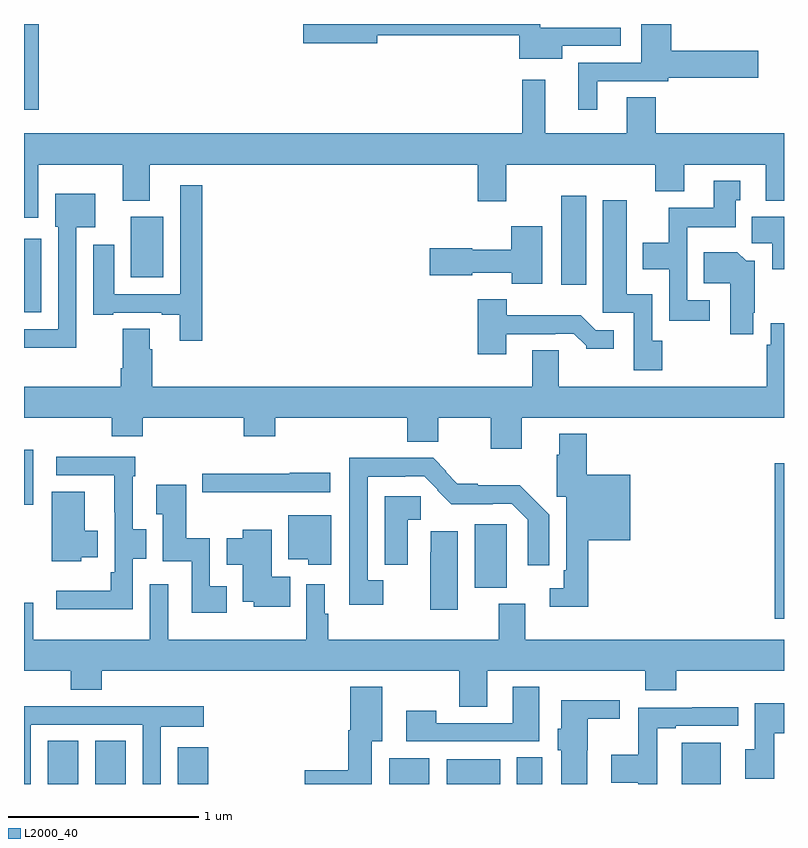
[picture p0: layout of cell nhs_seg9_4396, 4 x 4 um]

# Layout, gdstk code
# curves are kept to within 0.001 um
import gdstk
lib = gdstk.Library(unit=1e-6, precision=1e-09)
def R(c, l, rs):  # rectangles x0, y0, x1, y1
    for r in rs: c.add(gdstk.rectangle(r[:2], r[2:], *l))
def P(c, l, *ps):  # polygons
    for p in ps: c.add(gdstk.Polygon(p, *l))
L2000_40 = (2000, 40)

nhs_seg9_4396 = lib.new_cell('nhs_seg9_4396')
R(nhs_seg9_4396, L2000_40, [(363.125,1186.5,363.286,1186.727), (363.374,1186.5,363.535,1186.727), (363.809,1186.5,363.97,1186.693), (364.922,1186.5,365.134,1186.636), (365.225,1186.5,365.506,1186.63), (365.594,1186.5,365.728,1186.64), (366.461,1186.5,366.667,1186.717), (366.952,1187.37,367,1188.187), (365.372,1187.534,365.542,1187.868), (363,1187.969,363.049,1188.259), (363,1188.983,363.091,1189.369), (365.828,1189.128,365.959,1189.597), (363.563,1189.166,363.733,1189.486), (363,1190.049,363.077,1190.5)])
P(nhs_seg9_4396, L2000_40, [(365.833,1190.385),(366.142,1190.385),(366.142,1190.481),(365.716,1190.481),(365.716,1190.5),(364.47,1190.5),(364.47,1190.398),(364.858,1190.398),(364.858,1190.44),(365.606,1190.44),(365.606,1190.318),(365.833,1190.318)],
  [(366.016,1190.199),(366.39,1190.199),(366.39,1190.218),(366.865,1190.218),(366.865,1190.36),(366.407,1190.36),(366.407,1190.5),(366.248,1190.5),(366.248,1190.295),(365.918,1190.295),(365.918,1190.049),(366.016,1190.049)],
  [(363.076,1189.76),(363.521,1189.76),(363.521,1189.571),(363.661,1189.571),(363.661,1189.76),(365.387,1189.76),(365.387,1189.566),(365.539,1189.566),(365.539,1189.76),(366.323,1189.76),(366.323,1189.619),(366.475,1189.619),(366.475,1189.76),(366.905,1189.76),(366.905,1189.571),(367,1189.571),(367,1189.924),(366.326,1189.924),(366.326,1190.114),(366.173,1190.114),(366.173,1189.924),(365.743,1189.924),(365.743,1190.206),(365.622,1190.206),(365.622,1189.924),(363,1189.924),(363,1189.479),(363.076,1189.479)],
  [(366.61,1189.047),(366.492,1189.047),(366.492,1189.43),(366.745,1189.43),(366.745,1189.572),(366.769,1189.572),(366.769,1189.675),(366.629,1189.675),(366.629,1189.534),(366.394,1189.534),(366.394,1189.348),(366.257,1189.348),(366.257,1189.208),(366.396,1189.208),(366.396,1188.939),(366.61,1188.939)],
  [(363.938,1189.651),(363.822,1189.651),(363.822,1189.077),(363.475,1189.077),(363.475,1189.339),(363.365,1189.339),(363.365,1188.969),(363.469,1188.969),(363.469,1188.981),(363.725,1188.981),(363.725,1188.969),(363.821,1188.969),(363.821,1188.834),(363.938,1188.834)],
  [(363.276,1189.43),(363.376,1189.43),(363.376,1189.606),(363.164,1189.606),(363.164,1189.434),(363.18,1189.434),(363.18,1188.894),(363,1188.894),(363,1188.797),(363.276,1188.797)],
  [(366.359,1188.834),(366.306,1188.834),(366.306,1189.078),(366.172,1189.078),(366.172,1189.573),(366.047,1189.573),(366.047,1188.981),(366.21,1188.981),(366.21,1188.678),(366.359,1188.678)],
  [(367,1189.486),(366.83,1189.486),(366.83,1189.347),(366.938,1189.347),(366.938,1189.208),(367,1189.208)],
  [(365.728,1189.435),(365.564,1189.435),(365.564,1189.312),(365.358,1189.312),(365.358,1189.32),(365.136,1189.32),(365.136,1189.178),(365.358,1189.178),(365.358,1189.19),(365.566,1189.19),(365.566,1189.133),(365.728,1189.133)],
  [(366.838,1188.979),(366.846,1188.979),(366.846,1189.255),(366.8,1189.255),(366.755,1189.3),(366.577,1189.3),(366.577,1189.136),(366.716,1189.136),(366.716,1188.867),(366.838,1188.867)],
  [(365.539,1188.867),(365.795,1188.867),(365.795,1188.87),(365.894,1188.87),(365.958,1188.806),(365.958,1188.791),(366.103,1188.791),(366.103,1188.888),(366.009,1188.888),(365.931,1188.967),(365.542,1188.967),(365.542,1189.051),(365.387,1189.051),(365.387,1188.762),(365.539,1188.762)],
  [(363.626,1188.428),(364.157,1188.428),(364.157,1188.329),(364.322,1188.329),(364.322,1188.428),(365.018,1188.428),(365.018,1188.302),(365.179,1188.302),(365.179,1188.428),(365.456,1188.428),(365.456,1188.264),(365.62,1188.264),(365.62,1188.428),(367,1188.428),(367,1188.925),(366.93,1188.925),(366.93,1188.812),(366.91,1188.812),(366.91,1188.592),(365.815,1188.592),(365.815,1188.782),(365.675,1188.782),(365.675,1188.592),(363.674,1188.592),(363.674,1188.788),(363.661,1188.788),(363.661,1188.896),(363.521,1188.896),(363.521,1188.688),(363.509,1188.688),(363.509,1188.592),(363,1188.592),(363,1188.428),(363.461,1188.428),(363.461,1188.329),(363.626,1188.329)],
  [(365.969,1187.783),(366.19,1187.783),(366.19,1188.127),(365.963,1188.127),(365.963,1188.343),(365.816,1188.343),(365.816,1188.233),(365.804,1188.233),(365.804,1188.012),(365.853,1188.012),(365.853,1187.626),(365.841,1187.626),(365.841,1187.529),(365.766,1187.529),(365.766,1187.432),(365.969,1187.432)],
  [(363.573,1187.686),(363.643,1187.686),(363.643,1187.841),(363.573,1187.841),(363.573,1188.119),(363.586,1188.119),(363.586,1188.222),(363.171,1188.222),(363.171,1188.126),(363.476,1188.126),(363.476,1187.929),(363.477,1187.929),(363.477,1187.614),(363.457,1187.614),(363.457,1187.518),(363.171,1187.518),(363.171,1187.42),(363.573,1187.42)],
  [(364.892,1187.572),(364.809,1187.572),(364.809,1188.116),(365.006,1188.116),(365.006,1188.12),(365.106,1188.12),(365.178,1188.048),(365.175,1188.045),(365.249,1187.972),(365.468,1187.972),(365.468,1187.976),(365.568,1187.976),(365.652,1187.892),(365.652,1187.652),(365.764,1187.652),(365.764,1187.916),(365.609,1188.073),(365.389,1188.073),(365.389,1188.081),(365.281,1188.081),(365.219,1188.143),(365.223,1188.147),(365.153,1188.217),(364.713,1188.217),(364.713,1187.444),(364.892,1187.444)],
  [(364.295,1188.036),(364.612,1188.036),(364.612,1188.137),(364.399,1188.137),(364.399,1188.134),(363.939,1188.134),(363.939,1188.035),(364.295,1188.035)],
  [(364.066,1187.542),(363.978,1187.542),(363.978,1187.794),(363.853,1187.794),(363.853,1188.076),(363.695,1188.076),(363.695,1187.92),(363.731,1187.92),(363.731,1187.672),(363.882,1187.672),(363.882,1187.402),(364.066,1187.402)],
  [(363.3,1187.693),(363.388,1187.693),(363.388,1187.833),(363.319,1187.833),(363.319,1188.037),(363.146,1188.037),(363.146,1187.672),(363.3,1187.672)],
  [(365.02,1187.891),(365.087,1187.891),(365.087,1188.014),(364.898,1188.014),(364.898,1187.653),(365.02,1187.653)],
  [(364.618,1187.914),(364.391,1187.914),(364.391,1187.684),(364.496,1187.684),(364.496,1187.654),(364.618,1187.654)],
  [(364.4,1187.59),(364.303,1187.59),(364.303,1187.839),(364.151,1187.839),(364.151,1187.794),(364.067,1187.794),(364.067,1187.654),(364.151,1187.654),(364.151,1187.459),(364.209,1187.459),(364.209,1187.432),(364.4,1187.432)],
  [(365.284,1187.831),(365.142,1187.831),(365.142,1187.72),(365.138,1187.72),(365.138,1187.418),(365.284,1187.418)],
  [(365.437,1187.096),(366.269,1187.096),(366.269,1186.994),(366.434,1186.994),(366.434,1187.096),(367,1187.096),(367,1187.26),(365.638,1187.26),(365.638,1187.449),(365.498,1187.449),(365.498,1187.26),(364.601,1187.26),(364.601,1187.397),(364.582,1187.397),(364.582,1187.551),(364.485,1187.551),(364.485,1187.26),(363.759,1187.26),(363.759,1187.551),(363.663,1187.551),(363.663,1187.26),(363.049,1187.26),(363.049,1187.455),(363,1187.455),(363,1187.096),(363.245,1187.096),(363.245,1186.997),(363.41,1186.997),(363.41,1187.096),(365.29,1187.096),(365.29,1186.906),(365.437,1186.906)],
  [(365.713,1187.011),(365.573,1187.011),(365.573,1186.821),(365.169,1186.821),(365.169,1186.885),(365.013,1186.885),(365.013,1186.725),(365.713,1186.725)],
  [(364.831,1186.724),(364.885,1186.724),(364.885,1187.011),(364.718,1187.011),(364.718,1186.784),(364.706,1186.784),(364.706,1186.573),(364.478,1186.573),(364.478,1186.5),(364.831,1186.5)],
  [(365.965,1186.677),(365.968,1186.677),(365.968,1186.844),(366.136,1186.844),(366.136,1186.942),(365.828,1186.942),(365.828,1186.791),(365.81,1186.791),(365.81,1186.677),(365.828,1186.677),(365.828,1186.5),(365.965,1186.5)],
  [(366.949,1186.766),(367,1186.766),(367,1186.924),(366.845,1186.924),(366.845,1186.683),(366.795,1186.683),(366.795,1186.527),(366.949,1186.527)],
  [(363.036,1186.812),(363.624,1186.812),(363.624,1186.5),(363.72,1186.5),(363.72,1186.802),(363.946,1186.802),(363.946,1186.91),(363.527,1186.91),(363.527,1186.908),(363.161,1186.908),(363.161,1186.91),(363,1186.91),(363,1186.5),(363.036,1186.5)],
  [(366.333,1186.794),(366.43,1186.794),(366.43,1186.806),(366.76,1186.806),(366.76,1186.904),(366.517,1186.904),(366.517,1186.902),(366.232,1186.902),(366.232,1186.654),(366.09,1186.654),(366.09,1186.507),(366.232,1186.507),(366.232,1186.5),(366.333,1186.5)])

lib.write_gds('nhs_seg9_4396.gds')
